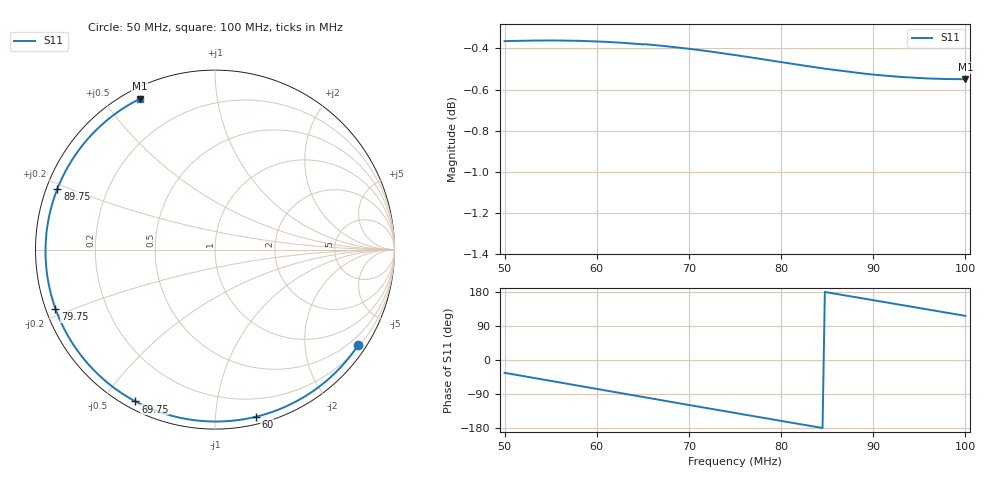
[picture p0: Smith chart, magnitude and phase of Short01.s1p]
!Agilent Technologies,E5072A,MY51200456,A.01.06
!Date: Wed Sep 02 20:42:18 2015
!Data & Calibration Information:
!Freq	S11:SOLT1(ON)
!PortZ  Port1:50+j0
!Above PortZ is port z conversion or system Z0 setting when saving the data.
!When reading, reference impedance value at option line is always used.
# Hz S dB R 50
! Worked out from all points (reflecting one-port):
!   201 points, 50 MHz to 100 MHz, reference 50 ohm
!   lowest |S11| = -0.5 dB at 100 MHz (marker M1), VSWR 31.64, Z = 2.19 + j30.9 ohm
!   phase of S11 starts at -34 deg and turns -210 deg over the sweep
!   S11 on the Smith chart (normalised r, x): 50 MHz: 0.25, -3.27; 60 MHz: 0.06, -1.27; 69.75 MHz: 0.03, -0.60; 79.75 MHz: 0.03, -0.18; 89.75 MHz: 0.03, +0.19; 100 MHz: 0.04, +0.62
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5e7  -0.36 -33.8
5.15e7  -0.36 -40.2
5.325e7  -0.36 -47.7
5.475e7  -0.36 -54.1
5.625e7  -0.36 -60.4
5.825e7  -0.36 -68.9
6e7  -0.37 -76.4
6.25e7  -0.37 -87.0
6.4e7  -0.38 -93.4
6.55e7  -0.38 -99.7
6.7e7  -0.39 -106.1
6.875e7  -0.39 -113.5
6.975e7  -0.40 -117.7
7.225e7  -0.41 -128.2
7.5e7  -0.43 -139.8
7.75e7  -0.45 -150.2
7.975e7  -0.46 -159.6
8.125e7  -0.48 -165.9
8.275e7  -0.49 -172.1
8.425e7  -0.50 -178.4
8.575e7  -0.50 175.4
8.75e7  -0.51 168.1
8.975e7  -0.53 158.8
9.175e7  -0.53 150.6
9.375e7  -0.54 142.3
9.7e7  -0.55 128.9
9.85e7  -0.55 122.7
1e8  -0.55 116.5
